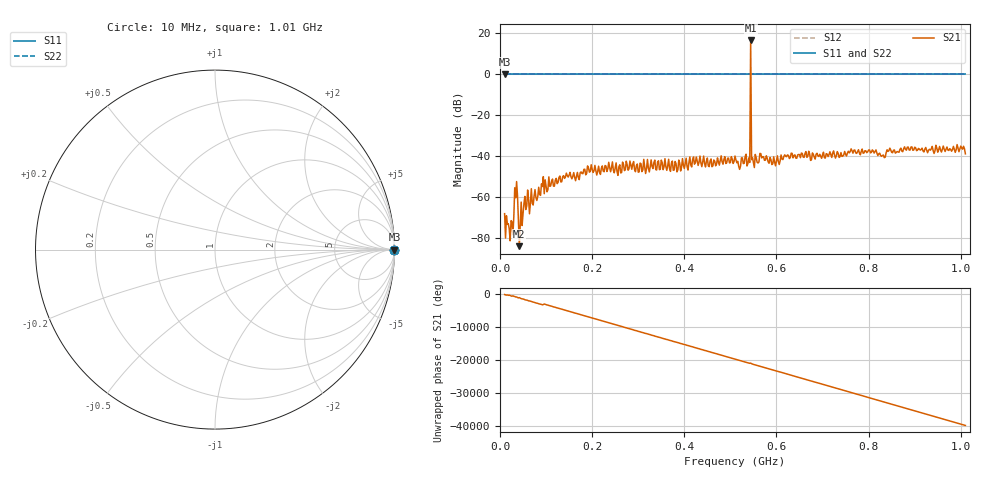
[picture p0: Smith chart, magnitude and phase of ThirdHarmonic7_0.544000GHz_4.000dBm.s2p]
! 8/17/2025 4:25:21 PM
! C:\ANRITSUVNA\TEMP\TEMP.S2P
! CHANNEL.1
! TR.MEASUREMENT
! RAW.DATA
! RF.CORRECTION.OFF
! AVERAGING.OFF
! IF.BANDWIDTH: 5KHZ
! SWEEPTYPE:  FREQ.SWEEP(Linear)
! Reference Plane Port Info
! PORT:  PORT1  PORT2
! DISTANCE:  0  m  0  m
! TIME:  0  s  0  s
! PHASE.OFFSET:  0  deg.  0  deg.
! LOSS:  0  dB  0  dB
! REF.LOSS:  0  dB  0  dB
! REF.FREQ:  0  Hz  0  Hz
! Power Info
! POWER:  -20  dBm  -20  dBm
! EFF.POWER:  -20  dBm  -20  dBm
! SOURCE.ATTEN:  0  dB  0  dB
! TEST.ATTEN:  0  dB  0  dB
# GHZ S RI R 50.0
! FREQ.GHZ  S11RE  S11IM  S21RE  S21IM  S12RE  S12IM  S22RE  S22IM
!; PortSelection: Port_12
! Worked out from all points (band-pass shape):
!   501 points, 10 MHz to 1.01 GHz, reference 50 ohm
!   highest |S21| = 16.42 dB at 544 MHz (marker M1); lowest = -83.9 dB at 42 MHz (marker M2)
!   |S21| within 3 dB of the highest: 543.8992 MHz to 544.1032 MHz (204 kHz wide, 0.0375 % of centre)
!   lowest |S11| = 0.0 dB at 10 MHz (marker M3)
!   |S11| at or under -10 dB: nowhere
!   |S22| runs from 0.0 to 0.0 dB; largest |S21 - S12| = 6.2
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0.01  1 0  0.000127 -0.000374  1 0  1 0
0.024  1 0  -0.000191 -0.000186  1 0  1 0
0.034  1 0  0.000204 -0.000945  1 0  1 0
0.042  1 0  1.56e-05 6.18e-05  1 0  1 0
0.044  1 0  2.31e-05 -0.000219  1 0  1 0
0.056  1 0  -7.41e-05 0.000493  1 0  1 0
0.068  1 0  0.00153 -0.000478  1 0  1 0
0.094  1 0  -0.00266 0.00171  1 0  1 0
0.1  1 0  -0.000272 0.00182  1 0  1 0
0.178  1 0  -0.00353 -0.00132  1 0  1 0
0.344  1 0  0.00757 -0.00137  1 0  1 0
0.51  1 0  -0.00953 -0.00319  1 0  1 0
0.538  1 0  -0.00621 0.00224  1 0  1 0
0.54  1 0  0.00221 0.00882  1 0  1 0
0.544  1 0  3.385 5.694  1 0  1 0
0.548  1 0  -0.00426 0.00814  1 0  1 0
0.55  1 0  0.00613 0.00347  1 0  1 0
0.678  1 0  0.00689 -0.00979  1 0  1 0
0.766  1 0  0.0118 0.000668  1 0  1 0
0.832  1 0  -0.00666 -0.0083  1 0  1 0
0.844  1 0  -0.00746 0.0114  1 0  1 0
1.01  1 0  0.000722 -0.0114  1 0  1 0
